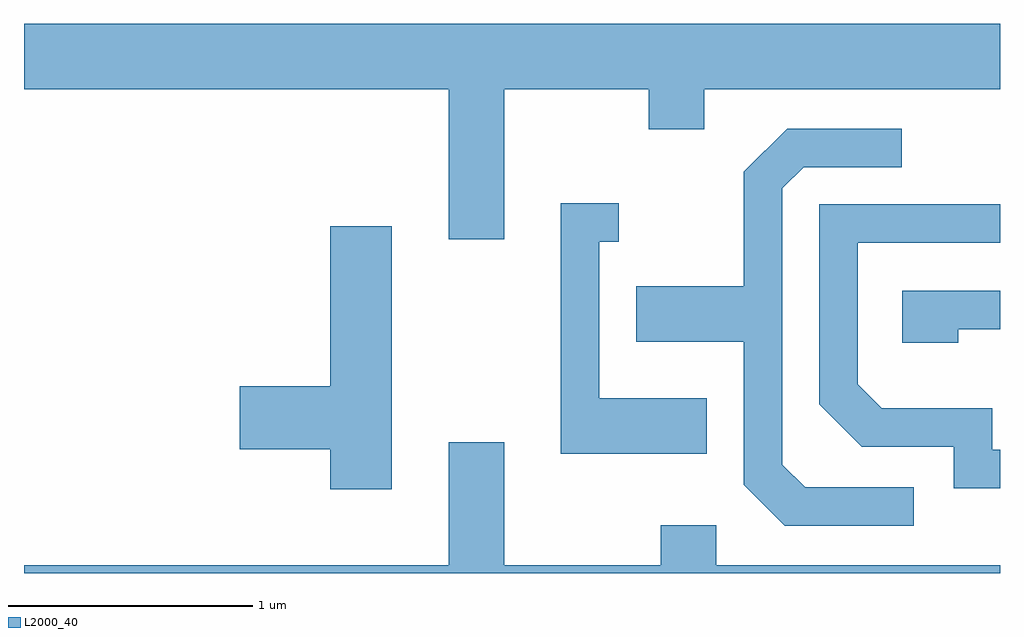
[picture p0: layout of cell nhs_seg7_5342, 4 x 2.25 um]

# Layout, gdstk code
import gdstk
lib = gdstk.Library(unit=1e-6, precision=1e-09)
def P(c, l, *ps):  # polygons
    for p in ps: c.add(gdstk.Polygon(p, *l))
L2000_40 = (2000, 40)

nhs_seg7_5342 = lib.new_cell('nhs_seg7_5342')
P(nhs_seg7_5342, L2000_40, [(347.611,1794.236),(349.351,1794.236),(349.351,1793.621),(349.579,1793.621),(349.579,1794.236),(350.171,1794.236),(350.171,1794.071),(350.399,1794.071),(350.399,1794.236),(351.611,1794.236),(351.611,1794.504),(347.611,1794.504)],
  [(351.258,1792.604),(350.812,1792.604),(350.719,1792.697),(350.719,1793.829),(350.807,1793.916),(351.208,1793.916),(351.208,1794.074),(350.739,1794.074),(350.561,1793.897),(350.561,1793.429),(350.121,1793.429),(350.121,1793.201),(350.561,1793.201),(350.561,1792.614),(350.729,1792.446),(351.258,1792.446)],
  [(350.409,1792.969),(349.969,1792.969),(349.969,1793.611),(350.048,1793.611),(350.048,1793.769),(349.811,1793.769),(349.811,1792.741),(350.409,1792.741)],
  [(351.611,1792.759),(351.579,1792.759),(351.579,1792.929),(351.127,1792.929),(351.029,1793.027),(351.029,1793.606),(351.611,1793.606),(351.611,1793.764),(350.871,1793.764),(350.871,1792.944),(351.044,1792.771),(351.421,1792.771),(351.421,1792.601),(351.611,1792.601)],
  [(349.119,1793.674),(348.866,1793.674),(348.866,1793.019),(348.496,1793.019),(348.496,1792.761),(348.866,1792.761),(348.866,1792.596),(349.119,1792.596)],
  [(351.439,1793.251),(351.611,1793.251),(351.611,1793.409),(351.211,1793.409),(351.211,1793.196),(351.439,1793.196)],
  [(351.611,1792.284),(350.449,1792.284),(350.449,1792.449),(350.221,1792.449),(350.221,1792.284),(349.579,1792.284),(349.579,1792.789),(349.351,1792.789),(349.351,1792.284),(347.611,1792.284),(347.611,1792.252),(351.611,1792.252)])

lib.write_gds('nhs_seg7_5342.gds')
